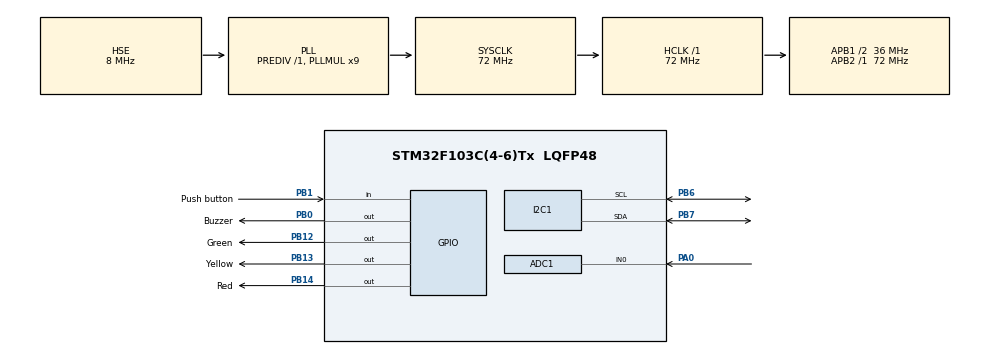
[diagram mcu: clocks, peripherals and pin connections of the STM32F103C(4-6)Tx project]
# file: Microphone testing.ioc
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ADC1.Channel-3\#ChannelRegularConversion=ADC_CHANNEL_0
ADC1.NbrOfConversionFlag=1
ADC1.Rank-3\#ChannelRegularConversion=1
ADC1.SamplingTime-3\#ChannelRegularConversion=ADC_SAMPLETIME_55CYCLES_5
ADC1.master=1
Mcu.Family=STM32F1
Mcu.Name=STM32F103C(4-6)Tx
Mcu.Package=LQFP48
NVIC.PriorityGroup=NVIC_PRIORITYGROUP_4
PA0-WKUP.Signal=ADCx_IN0
PA13.Mode=Serial_Wire
PA13.Signal=SYS_JTMS-SWDIO
PA14.Mode=Serial_Wire
PA14.Signal=SYS_JTCK-SWCLK
PB0.GPIO_Label=Buzzer
PB0.Signal=GPIO_Output
PB1.GPIO_Label=Push button
PB1.GPIO_PuPd=GPIO_PULLUP
PB1.Signal=GPIO_Input
PB12.GPIO_Label=Green
PB12.Signal=GPIO_Output
PB13.GPIO_Label=Yellow
PB13.Signal=GPIO_Output
PB14.GPIO_Label=Red
PB14.Signal=GPIO_Output
PB6.Mode=I2C
PB6.Signal=I2C1_SCL
PB7.Mode=I2C
PB7.Signal=I2C1_SDA
PD0-OSC_IN.Mode=HSE-External-Oscillator
PD0-OSC_IN.Signal=RCC_OSC_IN
PD1-OSC_OUT.Mode=HSE-External-Oscillator
PD1-OSC_OUT.Signal=RCC_OSC_OUT
ProjectManager.HeapSize=0x200
ProjectManager.StackSize=0x400
ProjectManager.TargetToolchain=STM32CubeIDE
RCC.ADCPresc=RCC_ADCPCLK2_DIV6
RCC.AHBFreq_Value=72000000
RCC.APB1CLKDivider=RCC_HCLK_DIV2
RCC.APB1Freq_Value=36000000
RCC.APB1TimFreq_Value=72000000
RCC.APB2Freq_Value=72000000
RCC.APB2TimFreq_Value=72000000
RCC.HCLKFreq_Value=72000000
RCC.PLLMUL=RCC_PLL_MUL9
RCC.PLLSourceVirtual=RCC_PLLSOURCE_HSE
RCC.SYSCLKFreq_VALUE=72000000
RCC.SYSCLKSource=RCC_SYSCLKSOURCE_PLLCLK
RCC.USBFreq_Value=72000000
SH.ADCx_IN0.0=ADC1_IN0,IN0
board=custom

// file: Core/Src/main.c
/* USER CODE BEGIN Header */
/**
  ******************************************************************************
  * @file           : main.c
  * @brief          : Main program body
  ******************************************************************************
  * @attention
  *
  * Copyright (c) 2026 STMicroelectronics.
  * All rights reserved.
  *
  * This software is licensed under terms that can be found in the LICENSE file
  * in the root directory of this software component.
  * If no LICENSE file comes with this software, it is provided AS-IS.
  *
  ******************************************************************************
  */
/* USER CODE END Header */
#include "main.h"

/* USER CODE BEGIN Includes */
#include "oled.h"
#include <stdio.h>
/* USER CODE END Includes */

ADC_HandleTypeDef hadc1;

I2C_HandleTypeDef hi2c1;

/* USER CODE BEGIN PV */
typedef enum
{
    NOISE_NORMAL,
    NOISE_WARNING,
    NOISE_CRITICAL
} NoiseState;

NoiseState noise_state = NOISE_NORMAL;

uint32_t warning_start = 0;
uint32_t critical_start = 0;
uint32_t quiet_start = 0;

uint8_t warning_tracking = 0;
uint8_t critical_tracking = 0;
uint8_t quiet_tracking = 0;
/* USER CODE END PV */

void SystemClock_Config(void);
static void MX_GPIO_Init(void);
static void MX_ADC1_Init(void);
static void MX_I2C1_Init(void);

/* USER CODE BEGIN 0 */
uint16_t Get_Noise_PeakToPeak(void)
{
    uint32_t start_tick = HAL_GetTick();
    uint16_t min_val = 4095;
    uint16_t max_val = 0;

    /* Sample microphone signal for 50 milliseconds */
    while ((HAL_GetTick() - start_tick) < 50)
    {
        HAL_ADC_Start(&hadc1);

        if (HAL_ADC_PollForConversion(&hadc1, 10) == HAL_OK)
        {
            uint16_t sample = HAL_ADC_GetValue(&hadc1);

            if (sample < min_val)
                min_val = sample;

            if (sample > max_val)
                max_val = sample;
        }

        HAL_ADC_Stop(&hadc1);
    }

    return (max_val - min_val);
}

void UpdateNoiseState(uint16_t noise_level)
{
    uint32_t now = HAL_GetTick();

    /* Track sustained warning-level noise */
    if (noise_level >= 15)
    {
        if (!warning_tracking)
        {
            warning_start = now;
            warning_tracking = 1;
        }
    }
    else
    {
        warning_tracking = 0;
    }

    /* Track sustained critical-level noise */
    if (noise_level >= 80)
    {
        if (!critical_tracking)
        {
            critical_start = now;
            critical_tracking = 1;
        }
    }
    else
    {
        critical_tracking = 0;
    }

    /* Track continuous quiet conditions for recovery */
    if (noise_level <= 10)
    {
        if (!quiet_tracking)
        {
            quiet_start = now;
            quiet_tracking = 1;
        }
    }
    else
    {
        quiet_tracking = 0;
    }

    /* Change state based on duration */
    if (critical_tracking &&
        (now - critical_start >= 3000))
    {
        noise_state = NOISE_CRITICAL;
    }
    else if (noise_state == NOISE_NORMAL &&
             warning_tracking &&
             (now - warning_start >= 1500))
    {
        noise_state = NOISE_WARNING;
    }

    if ((noise_state == NOISE_WARNING ||
         noise_state == NOISE_CRITICAL) &&
        quiet_tracking &&
        (now - quiet_start >= 1500))
    {
        noise_state = NOISE_NORMAL;
    }
}

/* USER CODE END 0 */

int main(void)
{

  /* MCU Configuration--------------------------------------------------------*/

  /* Reset of all peripherals, Initializes the Flash interface and the Systick. */
  HAL_Init();

  /* Configure the system clock */
  SystemClock_Config();

  /* Initialize all configured peripherals */
  MX_GPIO_Init();
  MX_ADC1_Init();
  MX_I2C1_Init();
  /* USER CODE BEGIN 2 */

  HAL_ADCEx_Calibration_Start(&hadc1);

  OLED_Init(&hi2c1);
  char disp_buf[20];

  /* USER CODE END 2 */

  /* Infinite loop */
  while (1)
  {
	  uint16_t noise_level = Get_Noise_PeakToPeak();

	      UpdateNoiseState(noise_level);

	      /* Check for Push Button Reset (Stage 9) */
	      if (HAL_GPIO_ReadPin(Push_button_GPIO_Port, Push_button_Pin) == GPIO_PIN_RESET)
	      {
	          noise_state = NOISE_NORMAL;
	          critical_tracking = 0;
	          warning_tracking = 0;
	          quiet_tracking = 0;
	      }

	      uint32_t now = HAL_GetTick();

	      /* Turn off all status LEDs first */
	      HAL_GPIO_WritePin(GPIOB,
	                        Green_Pin | Yellow_Pin | Red_Pin,
	                        GPIO_PIN_RESET);

	      /* Blink the LED for the current state */
	      if ((now / 500) % 2 == 0)
	      {
	          if (noise_state == NOISE_NORMAL)
	          {
	              HAL_GPIO_WritePin(GPIOB, Green_Pin, GPIO_PIN_SET);
	          }
	          else if (noise_state == NOISE_WARNING)
	          {
	              HAL_GPIO_WritePin(GPIOB, Yellow_Pin, GPIO_PIN_SET);
	          }
	          else
	          {
	              HAL_GPIO_WritePin(GPIOB, Red_Pin, GPIO_PIN_SET);
	          }
	      }

	      /* --- BUZZER CONTROL --- */
	      if (noise_state == NOISE_CRITICAL)
	      {
	          HAL_GPIO_WritePin(GPIOB, Buzzer_Pin, GPIO_PIN_SET);
	      }
	      else
	      {
	          HAL_GPIO_WritePin(GPIOB, Buzzer_Pin, GPIO_PIN_RESET);
	      }

	      /* Update OLED */
	      OLED_Clear();

	      OLED_SetCursor(0, 0);
	      OLED_WriteString("CLASSROOM MONITOR");

	      OLED_SetCursor(0, 1);
	      snprintf(disp_buf, sizeof(disp_buf),
	               "NOISE LEVEL: %u", noise_level);
	      OLED_WriteString(disp_buf);

	      OLED_SetCursor(0, 3);

	      if (noise_state == NOISE_NORMAL)
	      {
	          OLED_WriteString("STATUS: NORMAL");
	      }
	      else if (noise_state == NOISE_WARNING)
	      {
	          OLED_WriteString("STATUS: WARNING");
	      }
	      else
	      {
	          OLED_WriteString("STATUS: CRITICAL");
	      }

	      OLED_Update();

	      HAL_Delay(50);
  }
}

void SystemClock_Config(void)
{
  RCC_OscInitTypeDef RCC_OscInitStruct = {0};
  RCC_ClkInitTypeDef RCC_ClkInitStruct = {0};
  RCC_PeriphCLKInitTypeDef PeriphClkInit = {0};

  /** Initializes the RCC Oscillators according to the specified parameters
  * in the RCC_OscInitTypeDef structure.
  */
  RCC_OscInitStruct.OscillatorType = RCC_OSCILLATORTYPE_HSE;
  RCC_OscInitStruct.HSEState = RCC_HSE_ON;
  RCC_OscInitStruct.HSEPredivValue = RCC_HSE_PREDIV_DIV1;
  RCC_OscInitStruct.HSIState = RCC_HSI_ON;
  RCC_OscInitStruct.PLL.PLLState = RCC_PLL_ON;
  RCC_OscInitStruct.PLL.PLLSource = RCC_PLLSOURCE_HSE;
  RCC_OscInitStruct.PLL.PLLMUL = RCC_PLL_MUL9;
  if (HAL_RCC_OscConfig(&RCC_OscInitStruct) != HAL_OK)
  {
    Error_Handler();
  }

  /** Initializes the CPU, AHB and APB buses clocks
  */
  RCC_ClkInitStruct.ClockType = RCC_CLOCKTYPE_HCLK|RCC_CLOCKTYPE_SYSCLK
                              |RCC_CLOCKTYPE_PCLK1|RCC_CLOCKTYPE_PCLK2;
  RCC_ClkInitStruct.SYSCLKSource = RCC_SYSCLKSOURCE_PLLCLK;
  RCC_ClkInitStruct.AHBCLKDivider = RCC_SYSCLK_DIV1;
  RCC_ClkInitStruct.APB1CLKDivider = RCC_HCLK_DIV2;
  RCC_ClkInitStruct.APB2CLKDivider = RCC_HCLK_DIV1;

  if (HAL_RCC_ClockConfig(&RCC_ClkInitStruct, FLASH_LATENCY_2) != HAL_OK)
  {
    Error_Handler();
  }
  PeriphClkInit.PeriphClockSelection = RCC_PERIPHCLK_ADC;
  PeriphClkInit.AdcClockSelection = RCC_ADCPCLK2_DIV6;
  if (HAL_RCCEx_PeriphCLKConfig(&PeriphClkInit) != HAL_OK)
  {
    Error_Handler();
  }
}

static void MX_ADC1_Init(void)
{

  ADC_ChannelConfTypeDef sConfig = {0};

  /** Common config
  */
  hadc1.Instance = ADC1;
  hadc1.Init.ScanConvMode = ADC_SCAN_DISABLE;
  hadc1.Init.ContinuousConvMode = DISABLE;
  hadc1.Init.DiscontinuousConvMode = DISABLE;
  hadc1.Init.ExternalTrigConv = ADC_SOFTWARE_START;
  hadc1.Init.DataAlign = ADC_DATAALIGN_RIGHT;
  hadc1.Init.NbrOfConversion = 1;
  if (HAL_ADC_Init(&hadc1) != HAL_OK)
  {
    Error_Handler();
  }

  /** Configure Regular Channel
  */
  sConfig.Channel = ADC_CHANNEL_0;
  sConfig.Rank = ADC_REGULAR_RANK_1;
  sConfig.SamplingTime = ADC_SAMPLETIME_55CYCLES_5;
  if (HAL_ADC_ConfigChannel(&hadc1, &sConfig) != HAL_OK)
  {
    Error_Handler();
  }

}

static void MX_I2C1_Init(void)
{

  hi2c1.Instance = I2C1;
  hi2c1.Init.ClockSpeed = 100000;
  hi2c1.Init.DutyCycle = I2C_DUTYCYCLE_2;
  hi2c1.Init.OwnAddress1 = 0;
  hi2c1.Init.AddressingMode = I2C_ADDRESSINGMODE_7BIT;
  hi2c1.Init.DualAddressMode = I2C_DUALADDRESS_DISABLE;
  hi2c1.Init.OwnAddress2 = 0;
  hi2c1.Init.GeneralCallMode = I2C_GENERALCALL_DISABLE;
  hi2c1.Init.NoStretchMode = I2C_NOSTRETCH_DISABLE;
  if (HAL_I2C_Init(&hi2c1) != HAL_OK)
  {
    Error_Handler();
  }

}

static void MX_GPIO_Init(void)
{
  GPIO_InitTypeDef GPIO_InitStruct = {0};

  /* GPIO Ports Clock Enable */
  __HAL_RCC_GPIOD_CLK_ENABLE();
  __HAL_RCC_GPIOA_CLK_ENABLE();
  __HAL_RCC_GPIOB_CLK_ENABLE();

  /*Configure GPIO pin Output Level */
  HAL_GPIO_WritePin(GPIOB, Buzzer_Pin|Green_Pin|Yellow_Pin|Red_Pin, GPIO_PIN_RESET);

  /*Configure GPIO pins : Buzzer_Pin Green_Pin Yellow_Pin Red_Pin */
  GPIO_InitStruct.Pin = Buzzer_Pin|Green_Pin|Yellow_Pin|Red_Pin;
  GPIO_InitStruct.Mode = GPIO_MODE_OUTPUT_PP;
  GPIO_InitStruct.Pull = GPIO_NOPULL;
  GPIO_InitStruct.Speed = GPIO_SPEED_FREQ_LOW;
  HAL_GPIO_Init(GPIOB, &GPIO_InitStruct);

  /*Configure GPIO pin : Push_button_Pin */
  GPIO_InitStruct.Pin = Push_button_Pin;
  GPIO_InitStruct.Mode = GPIO_MODE_INPUT;
  GPIO_InitStruct.Pull = GPIO_PULLUP;
  HAL_GPIO_Init(Push_button_GPIO_Port, &GPIO_InitStruct);

}

void Error_Handler(void)
{
  __disable_irq();
  while (1)
  {
  }
}
